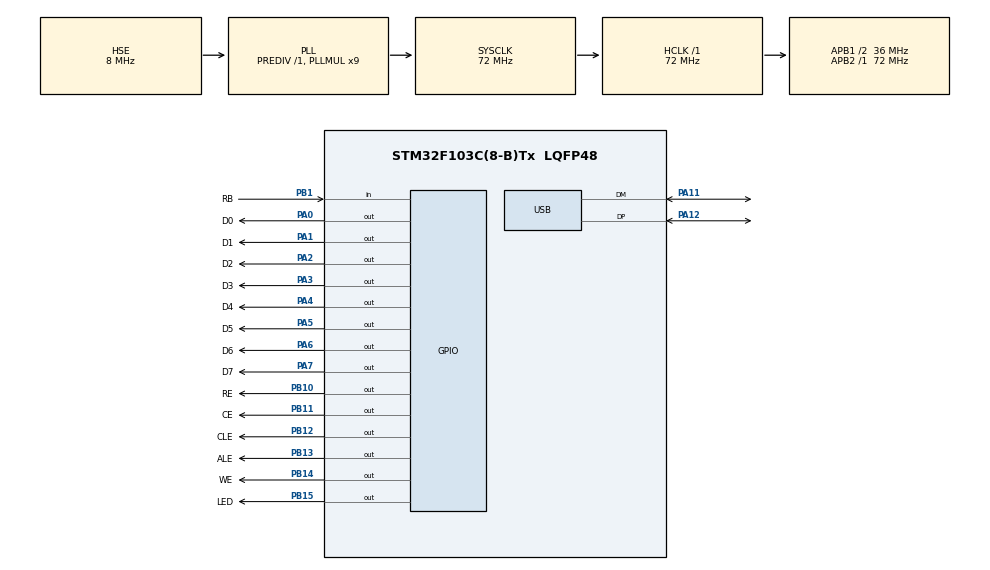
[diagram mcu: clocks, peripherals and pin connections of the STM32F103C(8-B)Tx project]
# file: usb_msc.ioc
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FREERTOS.Tasks01=defaultTask,0,128,StartDefaultTask,Default,NULL
FREERTOS.configTIMER_TASK_PRIORITY=3
FREERTOS.configTOTAL_HEAP_SIZE=15000
FREERTOS.configUSE_TIMERS=1
Mcu.Family=STM32F1
Mcu.Name=STM32F103C(8-B)Tx
Mcu.Package=LQFP48
NVIC.PriorityGroup=NVIC_PRIORITYGROUP_4
NVIC.USB_HP_CAN1_TX_IRQn=true\:5\:0\:false\:false\:true\:true\:true
NVIC.USB_LP_CAN1_RX0_IRQn=true\:6\:0\:true\:false\:true\:true\:true
PA0-WKUP.GPIO_Label=D0
PA0-WKUP.GPIO_PuPd=GPIO_NOPULL
PA0-WKUP.GPIO_Speed=GPIO_SPEED_FREQ_LOW
PA0-WKUP.Signal=GPIO_Output
PA1.GPIO_Label=D1
PA1.GPIO_PuPd=GPIO_NOPULL
PA1.GPIO_Speed=GPIO_SPEED_FREQ_LOW
PA1.Signal=GPIO_Output
PA11.Mode=Device
PA11.Signal=USB_DM
PA12.Mode=Device
PA12.Signal=USB_DP
PA13.Mode=JTAG_5_pins
PA13.Signal=SYS_JTMS-SWDIO
PA14.Mode=JTAG_5_pins
PA14.Signal=SYS_JTCK-SWCLK
PA15.Mode=JTAG_5_pins
PA15.Signal=SYS_JTDI
PA2.GPIO_Label=D2
PA2.GPIO_PuPd=GPIO_NOPULL
PA2.GPIO_Speed=GPIO_SPEED_FREQ_LOW
PA2.Signal=GPIO_Output
PA3.GPIO_Label=D3
PA3.GPIO_PuPd=GPIO_NOPULL
PA3.GPIO_Speed=GPIO_SPEED_FREQ_LOW
PA3.Signal=GPIO_Output
PA4.GPIO_Label=D4
PA4.GPIO_PuPd=GPIO_NOPULL
PA4.GPIO_Speed=GPIO_SPEED_FREQ_LOW
PA4.Signal=GPIO_Output
PA5.GPIO_Label=D5
PA5.GPIO_PuPd=GPIO_NOPULL
PA5.GPIO_Speed=GPIO_SPEED_FREQ_LOW
PA5.Signal=GPIO_Output
PA6.GPIO_Label=D6
PA6.GPIO_PuPd=GPIO_NOPULL
PA6.GPIO_Speed=GPIO_SPEED_FREQ_LOW
PA6.Signal=GPIO_Output
PA7.GPIO_Label=D7
PA7.GPIO_PuPd=GPIO_NOPULL
PA7.GPIO_Speed=GPIO_SPEED_FREQ_LOW
PA7.Signal=GPIO_Output
PB1.GPIO_Label=RB
PB1.GPIO_PuPd=GPIO_PULLUP
PB1.Signal=GPIO_Input
PB10.GPIO_Label=RE
PB10.GPIO_PuPd=GPIO_NOPULL
PB10.GPIO_Speed=GPIO_SPEED_FREQ_LOW
PB10.Signal=GPIO_Output
PB11.GPIO_Label=CE
PB11.GPIO_PuPd=GPIO_NOPULL
PB11.GPIO_Speed=GPIO_SPEED_FREQ_LOW
PB11.Signal=GPIO_Output
PB12.GPIO_Label=CLE
PB12.GPIO_PuPd=GPIO_NOPULL
PB12.GPIO_Speed=GPIO_SPEED_FREQ_LOW
PB12.Signal=GPIO_Output
PB13.GPIO_Label=ALE
PB13.GPIO_PuPd=GPIO_NOPULL
PB13.GPIO_Speed=GPIO_SPEED_FREQ_LOW
PB13.Signal=GPIO_Output
PB14.GPIO_Label=WE
PB14.GPIO_PuPd=GPIO_NOPULL
PB14.GPIO_Speed=GPIO_SPEED_FREQ_LOW
PB14.Signal=GPIO_Output
PB15.GPIO_Label=LED
PB15.GPIO_PuPd=GPIO_NOPULL
PB15.GPIO_Speed=GPIO_SPEED_FREQ_LOW
PB15.Signal=GPIO_Output
PB3.Mode=JTAG_5_pins
PB3.Signal=SYS_JTDO-TRACESWO
PB4.Mode=JTAG_5_pins
PB4.Signal=SYS_NJTRST
PD0-OSC_IN.Mode=HSE-External-Oscillator
PD0-OSC_IN.Signal=RCC_OSC_IN
PD1-OSC_OUT.Mode=HSE-External-Oscillator
PD1-OSC_OUT.Signal=RCC_OSC_OUT
ProjectManager.HeapSize=0x00
ProjectManager.StackSize=0x200
ProjectManager.TargetToolchain=EWARM
RCC.AHBFreq_Value=72000000
RCC.APB1CLKDivider=RCC_HCLK_DIV2
RCC.APB1Freq_Value=36000000
RCC.APB1TimFreq_Value=72000000
RCC.APB2Freq_Value=72000000
RCC.APB2TimFreq_Value=72000000
RCC.HCLKFreq_Value=72000000
RCC.PLLMUL=RCC_PLL_MUL9
RCC.SYSCLKFreq_VALUE=72000000
RCC.SYSCLKSource=RCC_SYSCLKSOURCE_PLLCLK
RCC.USBFreq_Value=48000000
RCC.USBPrescaler=RCC_USBCLKSOURCE_PLL_DIV1_5
USB.ep0_mps=DEP0CTL_MPS_8
USB_DEVICE.CLASS_NAME_FS=MSC
USB_DEVICE.USBD_SELF_POWERED=0
USB_DEVICE.VirtualMode=Msc
USB_DEVICE.VirtualModeFS=Msc_FS
VP_FREERTOS_VS_ENABLE.Mode=Enabled
VP_USB_DEVICE_VS_USB_DEVICE_MSC_FS.Mode=MSC_FS
board=custom

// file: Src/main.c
/**
  ******************************************************************************
  * @file           : main.c
  * @brief          : Main program body
  ******************************************************************************
  * This notice applies to any and all portions of this file
  * that are not between comment pairs USER CODE BEGIN and
  * USER CODE END. Other portions of this file, whether
  * inserted by the user or by software development tools
  * are owned by their respective copyright owners.
  *
  * Copyright (c) 2018 STMicroelectronics International N.V.
  * All rights reserved.
  *
  * Redistribution and use in source and binary forms, with or without
  * modification, are permitted, provided that the following conditions are met:
  *
  * 1. Redistribution of source code must retain the above copyright notice,
  *    this list of conditions and the following disclaimer.
  * 2. Redistributions in binary form must reproduce the above copyright notice,
  *    this list of conditions and the following disclaimer in the documentation
  *    and/or other materials provided with the distribution.
  * 3. Neither the name of STMicroelectronics nor the names of other
  *    contributors to this software may be used to endorse or promote products
  *    derived from this software without specific written permission.
  * 4. This software, including modifications and/or derivative works of this
  *    software, must execute solely and exclusively on microcontroller or
  *    microprocessor devices manufactured by or for STMicroelectronics.
  * 5. Redistribution and use of this software other than as permitted under
  *    this license is void and will automatically terminate your rights under
  *    this license.
  *
  * THIS SOFTWARE IS PROVIDED BY STMICROELECTRONICS AND CONTRIBUTORS "AS IS"
  * AND ANY EXPRESS, IMPLIED OR STATUTORY WARRANTIES, INCLUDING, BUT NOT
  * LIMITED TO, THE IMPLIED WARRANTIES OF MERCHANTABILITY, FITNESS FOR A
  * PARTICULAR PURPOSE AND NON-INFRINGEMENT OF THIRD PARTY INTELLECTUAL PROPERTY
  * RIGHTS ARE DISCLAIMED TO THE FULLEST EXTENT PERMITTED BY LAW. IN NO EVENT
  * SHALL STMICROELECTRONICS OR CONTRIBUTORS BE LIABLE FOR ANY DIRECT, INDIRECT,
  * INCIDENTAL, SPECIAL, EXEMPLARY, OR CONSEQUENTIAL DAMAGES (INCLUDING, BUT NOT
  * LIMITED TO, PROCUREMENT OF SUBSTITUTE GOODS OR SERVICES; LOSS OF USE, DATA,
  * OR PROFITS; OR BUSINESS INTERRUPTION) HOWEVER CAUSED AND ON ANY THEORY OF
  * LIABILITY, WHETHER IN CONTRACT, STRICT LIABILITY, OR TORT (INCLUDING
  * NEGLIGENCE OR OTHERWISE) ARISING IN ANY WAY OUT OF THE USE OF THIS SOFTWARE,
  * EVEN IF ADVISED OF THE POSSIBILITY OF SUCH DAMAGE.
  *
  ******************************************************************************
  */
#include "main.h"
#include "stm32f1xx_hal.h"
#include "cmsis_os.h"
#include "usb_device.h"
#include "gpio.h"

/* USER CODE BEGIN PV */
/* Private variables ---------------------------------------------------------*/

/* USER CODE END PV */

void SystemClock_Config(void);
void MX_FREERTOS_Init(void);

/* USER CODE BEGIN PFP */
/* Private function prototypes -----------------------------------------------*/

/* USER CODE END PFP */

int main(void)
{

  /* MCU Configuration----------------------------------------------------------*/

  /* Reset of all peripherals, Initializes the Flash interface and the Systick. */
  HAL_Init();

  /* Configure the system clock */
  SystemClock_Config();

  /* Initialize all configured peripherals */
  MX_GPIO_Init();

  /* Call init function for freertos objects (in freertos.c) */
  MX_FREERTOS_Init();

  /* Start scheduler */
  osKernelStart();

  /* We should never get here as control is now taken by the scheduler */

  /* Infinite loop */
  while (1)
  {

  }

}

void SystemClock_Config(void)
{

  RCC_OscInitTypeDef RCC_OscInitStruct;
  RCC_ClkInitTypeDef RCC_ClkInitStruct;
  RCC_PeriphCLKInitTypeDef PeriphClkInit;

    /**Initializes the CPU, AHB and APB busses clocks
    */
  RCC_OscInitStruct.OscillatorType = RCC_OSCILLATORTYPE_HSE;
  RCC_OscInitStruct.HSEState = RCC_HSE_ON;
  RCC_OscInitStruct.HSEPredivValue = RCC_HSE_PREDIV_DIV1;
  RCC_OscInitStruct.HSIState = RCC_HSI_ON;
  RCC_OscInitStruct.PLL.PLLState = RCC_PLL_ON;
  RCC_OscInitStruct.PLL.PLLSource = RCC_PLLSOURCE_HSE;
  RCC_OscInitStruct.PLL.PLLMUL = RCC_PLL_MUL9;
  if (HAL_RCC_OscConfig(&RCC_OscInitStruct) != HAL_OK)
  {
    _Error_Handler(__FILE__, __LINE__);
  }

    /**Initializes the CPU, AHB and APB busses clocks
    */
  RCC_ClkInitStruct.ClockType = RCC_CLOCKTYPE_HCLK|RCC_CLOCKTYPE_SYSCLK
                              |RCC_CLOCKTYPE_PCLK1|RCC_CLOCKTYPE_PCLK2;
  RCC_ClkInitStruct.SYSCLKSource = RCC_SYSCLKSOURCE_PLLCLK;
  RCC_ClkInitStruct.AHBCLKDivider = RCC_SYSCLK_DIV1;
  RCC_ClkInitStruct.APB1CLKDivider = RCC_HCLK_DIV2;
  RCC_ClkInitStruct.APB2CLKDivider = RCC_HCLK_DIV1;

  if (HAL_RCC_ClockConfig(&RCC_ClkInitStruct, FLASH_LATENCY_2) != HAL_OK)
  {
    _Error_Handler(__FILE__, __LINE__);
  }

  PeriphClkInit.PeriphClockSelection = RCC_PERIPHCLK_USB;
  PeriphClkInit.UsbClockSelection = RCC_USBCLKSOURCE_PLL_DIV1_5;
  if (HAL_RCCEx_PeriphCLKConfig(&PeriphClkInit) != HAL_OK)
  {
    _Error_Handler(__FILE__, __LINE__);
  }

    /**Configure the Systick interrupt time
    */
  HAL_SYSTICK_Config(HAL_RCC_GetHCLKFreq()/1000);

    /**Configure the Systick
    */
  HAL_SYSTICK_CLKSourceConfig(SYSTICK_CLKSOURCE_HCLK);

  /* SysTick_IRQn interrupt configuration */
  HAL_NVIC_SetPriority(SysTick_IRQn, 15, 0);
}

void _Error_Handler(char *file, int line)
{
  while(1)
  {
  }
}

/************************ (C) COPYRIGHT STMicroelectronics *****END OF FILE****/

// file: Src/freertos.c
/**
  ******************************************************************************
  * File Name          : freertos.c
  * Description        : Code for freertos applications
  ******************************************************************************
  * This notice applies to any and all portions of this file
  * that are not between comment pairs USER CODE BEGIN and
  * USER CODE END. Other portions of this file, whether
  * inserted by the user or by software development tools
  * are owned by their respective copyright owners.
  *
  * Copyright (c) 2018 STMicroelectronics International N.V.
  * All rights reserved.
  *
  * Redistribution and use in source and binary forms, with or without
  * modification, are permitted, provided that the following conditions are met:
  *
  * 1. Redistribution of source code must retain the above copyright notice,
  *    this list of conditions and the following disclaimer.
  * 2. Redistributions in binary form must reproduce the above copyright notice,
  *    this list of conditions and the following disclaimer in the documentation
  *    and/or other materials provided with the distribution.
  * 3. Neither the name of STMicroelectronics nor the names of other
  *    contributors to this software may be used to endorse or promote products
  *    derived from this software without specific written permission.
  * 4. This software, including modifications and/or derivative works of this
  *    software, must execute solely and exclusively on microcontroller or
  *    microprocessor devices manufactured by or for STMicroelectronics.
  * 5. Redistribution and use of this software other than as permitted under
  *    this license is void and will automatically terminate your rights under
  *    this license.
  *
  * THIS SOFTWARE IS PROVIDED BY STMICROELECTRONICS AND CONTRIBUTORS "AS IS"
  * AND ANY EXPRESS, IMPLIED OR STATUTORY WARRANTIES, INCLUDING, BUT NOT
  * LIMITED TO, THE IMPLIED WARRANTIES OF MERCHANTABILITY, FITNESS FOR A
  * PARTICULAR PURPOSE AND NON-INFRINGEMENT OF THIRD PARTY INTELLECTUAL PROPERTY
  * RIGHTS ARE DISCLAIMED TO THE FULLEST EXTENT PERMITTED BY LAW. IN NO EVENT
  * SHALL STMICROELECTRONICS OR CONTRIBUTORS BE LIABLE FOR ANY DIRECT, INDIRECT,
  * INCIDENTAL, SPECIAL, EXEMPLARY, OR CONSEQUENTIAL DAMAGES (INCLUDING, BUT NOT
  * LIMITED TO, PROCUREMENT OF SUBSTITUTE GOODS OR SERVICES; LOSS OF USE, DATA,
  * OR PROFITS; OR BUSINESS INTERRUPTION) HOWEVER CAUSED AND ON ANY THEORY OF
  * LIABILITY, WHETHER IN CONTRACT, STRICT LIABILITY, OR TORT (INCLUDING
  * NEGLIGENCE OR OTHERWISE) ARISING IN ANY WAY OUT OF THE USE OF THIS SOFTWARE,
  * EVEN IF ADVISED OF THE POSSIBILITY OF SUCH DAMAGE.
  *
  ******************************************************************************
  */

#include "FreeRTOS.h"
#include "task.h"
#include "cmsis_os.h"

/* USER CODE BEGIN Includes */
#include "gpio.h"
#include "nand_flash_io.h"
#include "log.h"
#define  LOG_MODULE_LEVEL    LOG_LEVEL_DEBUG
#define  LOG_MODULE_NAME     "freertos"
/* USER CODE END Includes */

osThreadId defaultTaskHandle;

/* USER CODE BEGIN Variables */
extern nand_flash_hal_io_t nand_hal_io;
/* USER CODE END Variables */

void StartDefaultTask(void const * argument);

extern void MX_USB_DEVICE_Init(void);
void MX_FREERTOS_Init(void); /* (MISRA C 2004 rule 8.1) */

/* USER CODE BEGIN FunctionPrototypes */
 uint32_t log_time(void)
{
return osKernelSysTick();
}
/* USER CODE END FunctionPrototypes */

/* Hook prototypes */

/* Init FreeRTOS */

void MX_FREERTOS_Init(void) {

  /* Create the thread(s) */
  /* definition and creation of defaultTask */
  osThreadDef(defaultTask, StartDefaultTask, osPriorityNormal, 0, 256);
  defaultTaskHandle = osThreadCreate(osThread(defaultTask), NULL);

}

/* StartDefaultTask function */
void StartDefaultTask(void const * argument)
{
  /* init code for USB_DEVICE */
  MX_USB_DEVICE_Init();

  /* USER CODE BEGIN StartDefaultTask */
  /* Infinite loop */
  uint8_t id[5],cmd[3];
  uint8_t *buff=0;
  int status;
  nand_flash_register_hal_io(&nand_hal_io);
  nand_flash_init();

  buff = pvPortMalloc(2112);
  if(buff == 0){
  log_error("malloc error.\r\n");
  }else{
  log_info("malloc ok.\r\n");
  }
  log_debug("wait cmd...\r\n");
  for(;;)
  {
   status =SEGGER_RTT_Read(0,cmd,3);
   if(status == 3){
   switch(cmd[0])
   {
   case 'e':
   log_debug("erase block :%d.\r\n",cmd[1]-'0');
   status = nand_flash_block_erase(cmd[1]-'0');
   if(status == -1){
   log_error("block erase error.\r\n");
   }else{
   log_info("block erase ok.\r\n");
   }
   break;

   case 'p':
   log_debug("program page :%d.\r\n",cmd[1]-'0');
   status = nand_flash_page_program(cmd[1]-'0',0,buff,2112);
   if(status == -1){
   log_error("page program error.\r\n");
   }else{
   log_info("page program ok.\r\n");
   }
   break;

   case 'P':
   log_debug("program page spare:%d.\r\n",cmd[1]-'0');
   status = nand_flash_page_program(cmd[1]-'0',2048,buff,64);
   if(status == -1){
   log_error("page program error.\r\n");
   }else{
   log_info("page program ok.\r\n");
   }
   break;

   case 'r':
   log_debug("read page :%d.\r\n",cmd[1]-'0');
   status = nand_flash_page_read(cmd[1]-'0',0,buff,2112);
   if(status == -1){
   log_error("page read error.\r\n");
   }else{
   log_info("page read ok.\r\n");
   }
   break;

   case 'R':
   log_debug("read page spare:%d.\r\n",cmd[1]-'0');
   status = nand_flash_page_read(cmd[1]-'0',2048,buff,64);
   if(status == -1){
   log_error("page read error.\r\n");
   }else{
   log_info("page read ok.\r\n");
   }
   break;

   case 'i':
   status = nand_flash_id_read(id);
   if(status == -1){
   log_error("read id err.\r\n");
   }else{
   log_info("read id ok.\r\n");
   for(uint8_t i=0;i<5;i++){
   log_info("id[%d]: %d.\r\n",i,id[i]);
   }
   }
   break;

   case 'f':
   for(uint16_t i=0;i<2112;i++){
   buff[i] =i;
   }
   log_debug("fill 0 1 ...2111 ok.\r\n");
   break;

   case 'o':
   for(uint16_t i=0;i<2112;i++){
   log_debug("buff[%d]:%d.\r\n",i,buff[i]);
   osDelay(2);
   }
   break;
   default:
   log_error("error cmd:%d.\r\n",cmd[0]);
   }
   }

    HAL_GPIO_WritePin(LED_GPIO_Port, LED_Pin, GPIO_PIN_RESET);
    osDelay(40);
    HAL_GPIO_WritePin(LED_GPIO_Port, LED_Pin, GPIO_PIN_SET);
    osDelay(40);

  }
  /* USER CODE END StartDefaultTask */
}

/************************ (C) COPYRIGHT STMicroelectronics *****END OF FILE****/
